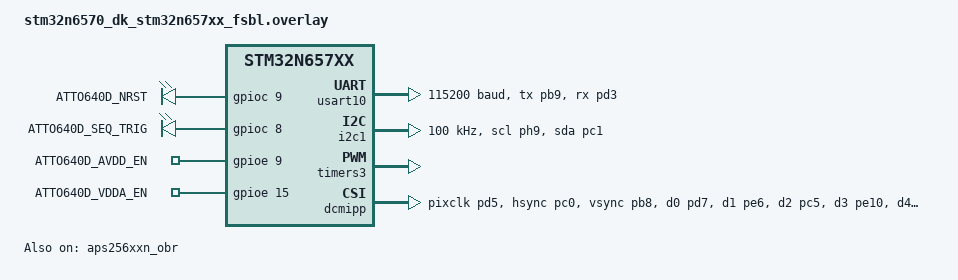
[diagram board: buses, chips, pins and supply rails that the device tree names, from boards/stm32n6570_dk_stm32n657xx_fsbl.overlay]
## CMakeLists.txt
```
cmake_minimum_required(VERSION 3.20.0)

set(DTC_OVERLAY_FILE
    "${CMAKE_CURRENT_SOURCE_DIR}/app.overlay"
    "${CMAKE_CURRENT_SOURCE_DIR}/boards/stm32n6570_dk_stm32n657xx_fsbl.overlay"
)

# Diagnose-Modus: SW-Generator Colorbar → UVC (DCMIPP läuft, liefert aber nicht an USB).
# Build: west build ... -- -DXI640_DIAG_SWGEN=ON
# Vorteil: Kein '.' im CMake-Argument-Wert → kein PowerShell-Parsing-Problem.
option(XI640_DIAG_SWGEN "SW-Generator Colorbar Diagnose-Modus (statt DCMIPP)" OFF)
if(XI640_DIAG_SWGEN)
  set(EXTRA_CONF_FILE "${CMAKE_CURRENT_SOURCE_DIR}/diag_swgen.conf")
  message(STATUS "XI640: Diagnose-Modus aktiv — EXTRA_CONF_FILE=${EXTRA_CONF_FILE}")
endif()

find_package(Zephyr REQUIRED HINTS $ENV{ZEPHYR_BASE})
project(xi640_uvc_dcmipp)

include(${ZEPHYR_BASE}/samples/subsys/usb/common/common.cmake)
target_sources(app PRIVATE
    src/main.c
    src/lynred_atto640d.c
    src/atto640d_video_stub.c
    src/dcmipp_capture.c
    src/xi640_hid.c
)

target_include_directories(app PRIVATE inc)

# DCMIPP Frame-Buffer in AXISRAM1 @ 0x34000000 (vor Zephyr Heap)
zephyr_linker_sources(DATA_SECTIONS sections/dcmipp_buf.ld)
```

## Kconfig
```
# Copyright The Zephyr Project Contributors
# SPDX-License-Identifier: Apache-2.0

source "samples/subsys/usb/common/Kconfig.sample_usbd"

menu "UVC specific configuration"

config APP_VIDEO_MAX_RESOLUTIONS
	int "Maximum number of advertised resolutions"
	default 5
	help
	   Control the maximum number of resolution that will be advertised
	   to the USB client in case of the video capture supports a range
	   of resolutions.

# Lokale UVC ISO Fork (usbd_uvc_iso.c) — Konfigurationsoptionen unabhaengig
# von CONFIG_USBD_VIDEO_CLASS, da wir die eingebaute Klasse deaktivieren
config USBD_VIDEO_MAX_FORMATS
	int "Maximale Anzahl Format-Deskriptoren"
	default 8

config USBD_VIDEO_NUM_BUFS
	int "Maximale Anzahl UVC Puffer"
	default 8

config USBD_VIDEO_MAX_FRMIVAL
	int "Maximale Anzahl Frame-Intervalle pro Frame-Deskriptor"
	default 4

config USBD_VIDEO_LOG_LEVEL
	int "Log-Level fuer UVC ISO (0=NONE 1=ERR 2=WRN 3=INF 4=DBG)"
	default 2

config VIDEO_BUFFER_POOL_SZ_MAX
	int "Maximale Groesse eines einzelnen Video-Puffers in Bytes"
	default 614400
	help
	  Maximale Puffergroesse pro Frame (640x480 YUYV = 614400 Bytes).
	  Formate, die groesser sind, werden beim Hinzufuegen uebersprungen.

config XI640_UVC_SOURCE_DCMIPP
	bool "DCMIPP als UVC-Datenquelle"
	default y
	help
	  y: DCMIPP liefert Frames an UVC (Produktionsmodus, HAL-Bypass).
	  n: SW-Generator Colorbar an UVC (Diagnose — DCMIPP läuft aber liefert nicht an USB).
	  Diagnose-Build: west build ... -- -DCONFIG_XI640_UVC_SOURCE_DCMIPP=n

endmenu

source "Kconfig.zephyr"
```

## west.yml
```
manifest:
  version: "0.13"

  defaults:
    remote: zephyr

  remotes:
    - name: zephyr
      url-base: https://github.com/zephyrproject-rtos

  projects:
    - name: zephyr
      remote: zephyr
      revision: main
      import: true

  self:
    path: app
```

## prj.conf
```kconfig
CONFIG_LOG=y
CONFIG_POLL=y
CONFIG_HWINFO=y

# D-Cache (Cortex-M55) — PFLICHT fuer SRAM-Bandbreite ~50 MB/s statt ~15 MB/s
CONFIG_DCACHE=y
CONFIG_CACHE_MANAGEMENT=y

# USB device_next
CONFIG_USB_DEVICE_STACK_NEXT=y
CONFIG_UDC_BUF_POOL_SIZE=32768

# USBD Video — eingebaute Bulk-UVC Klasse
CONFIG_USBD_VIDEO_CLASS=y

# Video
CONFIG_VIDEO=y
CONFIG_VIDEO_SW_GENERATOR=y
CONFIG_VIDEO_BUFFER_POOL_NUM_MAX=4
CONFIG_VIDEO_BUFFER_POOL_SZ_MAX=614400

CONFIG_USBD_VIDEO_NUM_BUFS=128
CONFIG_USBD_VIDEO_LOG_LEVEL_INF=y
CONFIG_USBD_VIDEO_MAX_FORMATS=8
CONFIG_USBD_VIDEO_MAX_FRMIVAL=2
CONFIG_UDC_STM32_MAX_QMESSAGES=64

# Stack
CONFIG_MAIN_STACK_SIZE=16384
CONFIG_USBD_THREAD_STACK_SIZE=8192
CONFIG_UDC_STM32_STACK_SIZE=2048

# USB descriptor
CONFIG_SAMPLE_USBD_PID=0x0022
CONFIG_SAMPLE_USBD_PRODUCT="Xi640 UVC Bulk"
CONFIG_SAMPLE_USBD_MANUFACTURER="Optris"

# Lynred ATTO640D
CONFIG_I2C=y
CONFIG_GPIO=y
CONFIG_PWM=y

# ── DCMIPP Parallel-Interface (14-Bit Pipe0 Dump Mode) ──────────────────────
CONFIG_VIDEO_STM32_DCMIPP=y
# RGB565 = FourCC "RGBP", bpp=16 → pitch=1280 korrekt (nicht SBGGR8 mit pitch=640!)
CONFIG_VIDEO_STM32_DCMIPP_SENSOR_PIXEL_FORMAT="RGBP"
CONFIG_VIDEO_STM32_DCMIPP_SENSOR_WIDTH=640
CONFIG_VIDEO_STM32_DCMIPP_SENSOR_HEIGHT=480
# SW-Generator Diagnose: 2x 614400 Bytes + 8 KB Heap-Overhead
# (nur relevant wenn CONFIG_XI640_UVC_SOURCE_DCMIPP=n)
CONFIG_VIDEO_BUFFER_POOL_HEAP_SIZE=1310720

# Kritisch: ohne dynamic interrupts zeigt DCMIPP IRQ48 auf Flash (Hard Fault!)
CONFIG_DYNAMIC_INTERRUPTS=y

# MEM_ATTR_HEAP führt zu Assertion-Fehler bei Boot (bekanntes P16-Problem)
CONFIG_MEM_ATTR_HEAP=n

# I-Cache für bessere Performance (D-Cache ist bereits aktiv)
CONFIG_ICACHE=y

# ── Crash-Diagnostik (TEMPORÄR — nach Root-Cause-Fix entfernen) ─────────────
# FAULT_DUMP=2: vollständiger Register-Dump (PC, LR, SP, r0-r12, SCB->CFSR,
#               SCB->BFAR, SCB->MMFAR) bei Hard Fault — essenziell für Diagnose
CONFIG_FAULT_DUMP=2
# STACK_SENTINEL: Magic-Byte am Stack-Boden — Zephyr meldet Overflow BEVOR
#                 der SP korrumpiert wird (Hypothese A Test)
CONFIG_STACK_SENTINEL=y

# ── HID (Interface 2, ausserhalb UVC-IAD) ───────────────────────────────────
CONFIG_USBD_HID_SUPPORT=y
CONFIG_USBD_HID_IN_BUF_COUNT=2
CONFIG_USBD_HID_OUT_BUF_COUNT=2
```

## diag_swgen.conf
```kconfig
# Diagnose-Build: SW-Generator Colorbar → UVC
# DCMIPP läuft im Hintergrund, liefert aber nicht an USB.
# Verifiziert: UVC-Pipeline unabhängig von DCMIPP-Übergabe-Code.
#
# Build: west build -b stm32n6570_dk/stm32n657xx/fsbl -d build/primary -p always app \
#   -- -DEXTRA_CONF_FILE=diag_swgen.conf
CONFIG_XI640_UVC_SOURCE_DCMIPP=n
```

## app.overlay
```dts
/ {
	chosen {
		zephyr,camera = &sw_generator;
	};

	sw_generator: sw-generator {
		compatible = "zephyr,video-sw-generator";
		status = "okay";
	};

	uvc: uvc {
		compatible = "zephyr,uvc-device";
		status = "okay";
	};

	/* Xi640 HID — Vendor Usage Page 0xFFA0 (Optris PIX Connect / IRImager SDK).
	 * Interface 2, ausserhalb der UVC-IAD (kein eigener IAD noetig).
	 * out-report-size → Interrupt-OUT-EP (0x02), Kommandos ohne Control-Pipe. */
	xi640_hid_dev: xi640-hid-dev {
		compatible = "zephyr,hid-device";
		protocol-code = "none";
		in-report-size        = <64>;
		in-polling-period-us  = <1000>;
		out-report-size       = <40>;
		out-polling-period-us = <1000>;
	};

};
```

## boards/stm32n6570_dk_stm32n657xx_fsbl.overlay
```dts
/*
 * Xi640 Project 22 — Board Overlay stm32n6570_dk//fsbl
 *
 * Console: USART10 (PB9=TX, PD3=RX)
 * AXISRAM3-6: aktiviert fuer Frame-Buffer (spaetere Phasen)
 * PSRAM: 100 MHz stabile Konfiguration (200 MHz instabil auf DK-Board)
 */

/ {
	chosen {
		zephyr,console = &usart10;
		zephyr,shell-uart = &usart10;
	};
};

&usart1 {
	status = "disabled";
};

&usart10 {
	status = "okay";
	pinctrl-0 = <&usart10_tx_pb9 &usart10_rx_pd3>;
	pinctrl-names = "default";
	current-speed = <115200>;
};

/* AXISRAM3-6 einschalten (RAMCFG HW-Baenke).
 * Nur originale axisram-Knoten triggern den RAMCFG-Treiber korrekt. */
&axisram3 {
	status = "okay";
};

&axisram4 {
	status = "okay";
};

&axisram5 {
	status = "okay";
};

&axisram6 {
	status = "okay";
};

/* ===== Lynred ATTO640D-04 GPIOs ===== */
/ {
	atto640d_ctrl {
		compatible = "gpio-leds";
		atto640d_nrst: atto640d_nrst {
			gpios = <&gpioc 9 GPIO_ACTIVE_HIGH>;
			label = "ATTO640D_NRST";
		};
		atto640d_seq_trig: atto640d_seq_trig {
			gpios = <&gpioc 8 GPIO_ACTIVE_HIGH>;
			label = "ATTO640D_SEQ_TRIG";
		};
		atto640d_avdd_en: atto640d_avdd_en {
			gpios = <&gpioe 9 GPIO_ACTIVE_HIGH>;
			label = "ATTO640D_AVDD_EN";
		};
		atto640d_vdda_en: atto640d_vdda_en {
			gpios = <&gpioe 15 GPIO_ACTIVE_HIGH>;
			label = "ATTO640D_VDDA_EN";
		};
	};
};

/* ===== I2C1: Lynred ATTO640D-04 @ 0x12 ===== */
&i2c1 {
	status = "okay";
	clock-frequency = <I2C_BITRATE_STANDARD>;
	pinctrl-0 = <&i2c1_scl_ph9 &i2c1_sda_pc1>;
	pinctrl-names = "default";
};

/* ===== MC Clock: TIM3_CH2 auf PC7, 33 MHz ===== */
&timers3 {
	status = "okay";
	st,prescaler = <0>;

	atto640d_mc_pwm: pwm {
		status = "okay";
		pinctrl-0 = <&tim3_ch2_pc7>;
		pinctrl-names = "default";
	};
};

/* PSRAM @ 100 MHz — stabiler als 200 MHz (CLAUDE.md: ~109 MB/s Write, ~202 MB/s Read).
 * burst-length=3 (2K Wrap), rbx: bewaehrte Konfiguration aus Project 21. */
&aps256xxn_obr {
	status = "okay";
	max-frequency = <DT_FREQ_M(100)>;
	read-latency = <4>;
	write-latency = <1>;
	fixed-latency;
	burst-length = <3>;
	rbx;
	st,csbound = <11>;
};

/*
 * ── Lynred ATTO640D-04 Video-Source Node (fuer DCMIPP-Treiber) ─────────────
 * Der DCMIPP-Treiber (video_stm32_dcmipp.c) benoetigt ein Zephyr-Device am
 * Source-Endpoint. Dieser Node registriert den atto640d_video_stub.
 * Echte Hardware-Ansteuerung laeuft ueber atto640d_init() in lynred_atto640d.c.
 */
/ {
	atto640d: atto640d {
		compatible = "lynred,atto640d-04";
		status = "okay";

		port {
			atto640d_ep_out: endpoint {
				remote-endpoint-label = "dcmipp_ep_in";
			};
		};
	};
};

/*
 * ── DCMIPP: 14-Bit Parallel Interface ─────────────────────────────────────
 *
 * Pin-Mapping (STM32N6570-DK Schaltplan):
 *   Data[0..13]: PD7 PE6 PC5 PE10 PE8 PE4 PB6 PB7 PE1 PD4 PB14 PD8 PD12 PD13
 *   PIXCLK: PD5 (PSYNC via CPLD), HSYNC: PC0, VSYNC: PB8
 *
 * Polaritaeten (kritisch — aus P16 bestaetigt):
 *   hsync-active = 0: HSYNC active LOW  <- BUGFIX (1 -> DCMIPP las nur Blanking!)
 *   vsync-active = 0: VSYNC active LOW
 *   pclk-sample  = 0: Zephyr-Stack-Pfad FALLING. HAL-Bypass (P22 aktiv) nutzt RISING — Wert ignoriert.
 *
 * data-lanes: Dummy fuer STM32_DCMIPP_HAS_CSI compile-time Pruefung.
 * STM32N6 hat CSI-HW -> Treiber liest data_lanes auch im Parallel-Modus.
 */
&dcmipp {
	status = "okay";
	pinctrl-0 = <
		&dcmipp_pixclk_pd5
		&dcmipp_hsync_pc0
		&dcmipp_vsync_pb8
		&dcmipp_d0_pd7
		&dcmipp_d1_pe6
		&dcmipp_d2_pc5
		&dcmipp_d3_pe10
		&dcmipp_d4_pe8
		&dcmipp_d5_pe4
		&dcmipp_d6_pb6
		&dcmipp_d7_pb7
		&dcmipp_d8_pe1
		&dcmipp_d9_pd4
		&dcmipp_d10_pb14
		&dcmipp_d11_pd8
		&dcmipp_d12_pd12
		&dcmipp_d13_pd13
	>;
	pinctrl-names = "default";

	port {
		dcmipp_ep_in: endpoint {
			remote-endpoint-label = "atto640d_ep_out";
			bus-type = <VIDEO_BUS_TYPE_PARALLEL>;
			bus-width = <14>;
			hsync-active = <0>;
			vsync-active = <0>;
			pclk-sample  = <0>;   /* Zephyr-Stack-Pfad: FALLING (PCKPOL=0). HAL-Bypass (aktiv in P22) konfiguriert RISING direkt — dieser Wert wird ignoriert. */
			data-lanes = <1 2>;
		};
	};
};
```

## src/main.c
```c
/*
 * Copyright (c) 2025 tinyVision.ai Inc.
 * SPDX-License-Identifier: Apache-2.0
 *
 * Phase ISO-1: DCMIPP HAL-Bypass Streaming — echte Kamera-Pipeline.
 * DCMIPP liefert Frames via DMA, Security-Init (RIFSC/RISAF) freigegeben.
 * Timer-Simulation entfernt.
 */

#include <stdint.h>
#include <stdlib.h>
#include <string.h>

#include <sample_usbd.h>

#include <zephyr/device.h>
#include <zephyr/kernel.h>
#include <zephyr/usb/usbd.h>
#include <zephyr/drivers/video.h>
#include <zephyr/video/video.h>          /* video_import_buffer */
#include <zephyr/logging/log.h>
#include <zephyr/usb/class/usbd_uvc.h>
#include <zephyr/cache.h>

#include "lynred_atto640d.h"
#include "xi640_hid.h"

#include <soc.h>              /* STM32N6 HAL: RIF, RCC, NVIC, SCB_NS */
#include "dcmipp_capture.h"

LOG_MODULE_REGISTER(uvc_sample, LOG_LEVEL_INF);

/* Phase 4: DCMIPP frame_buf_a/b direkt als UVC-Pool-Einträge.
 * Kein separater AXISRAM3/4-Buffer mehr — DWC2 DMA liest aus AXISRAM1
 * (OTG1 + OTG2 haben CID1 via RIMC → Zugriff auf alle AXISRAM-Bänke OK).
 * Wrapper-Structs: nur .index und .type werden von video_enqueue() genutzt.
 * video_import_buffer() trägt .buffer/.size in video_buf[idx] ein.
 * video_dequeue() liefert &video_buf[idx] zurück (Pool-Eintrag direkt). */
static struct video_buffer uvc_static_bufs[2];

const static struct device *const uvc_dev = DEVICE_DT_GET(DT_NODELABEL(uvc));

/* sw-generator: Format-Advertisement + optionaler Colorbar-Diagnose-Pfad.
 * CONFIG_XI640_UVC_SOURCE_DCMIPP=n → sw-generator liefert echte Colorbar-Daten an UVC. */
const static struct device *const video_dev = DEVICE_DT_GET(DT_CHOSEN(zephyr_camera));

static struct video_caps video_caps = {.type = VIDEO_BUF_TYPE_OUTPUT};

/* ---- Benchmark-Statistik (Sliding Window, 30 Frames) ---- */
static struct {
	uint32_t window_frames;    /* Frames im aktuellen Fenster */
	uint32_t window_start_ms;  /* Fensterbeginn (k_uptime_get_32) */
	uint32_t total_frames;     /* Gesamt-Frames seit Reset */
} bench;

static void bench_reset(uint32_t frame_size)
{
	bench.window_frames   = 0U;
	bench.window_start_ms = k_uptime_get_32();
	bench.total_frames    = 0U;
	LOG_INF("Benchmark gestartet, Frame-Groesse: %u Bytes", frame_size);
}

static void bench_update(uint32_t frame_size)
{
	bench.window_frames++;
	bench.total_frames++;

	if (bench.window_frames >= 30U) {
		uint32_t now     = k_uptime_get_32();
		uint32_t elapsed = now - bench.window_start_ms;

		if (elapsed > 0U) {
			uint32_t fps  = (30U * 1000U) / elapsed;
			uint32_t kbps = (uint32_t)(
				((uint64_t)bench.window_frames * frame_size * 8U)
				/ elapsed);
			LOG_INF("UVC: %u FPS | %u kbit/s "
				"(Fenster %u ms) | gesamt: %u Frames",
				fps, kbps, elapsed, bench.total_frames);
		}

		bench.window_start_ms = now;
		bench.window_frames   = 0U;
	}
}
/* ---- Ende Benchmark ---- */

/* ---- Format-Setup (nutzt video_caps vom sw-generator) ---- */

static bool app_is_supported_format(uint32_t pixfmt)
{
	return pixfmt == VIDEO_PIX_FMT_JPEG ||
	       pixfmt == VIDEO_PIX_FMT_YUYV ||
	       pixfmt == VIDEO_PIX_FMT_NV12 ||
	       pixfmt == VIDEO_PIX_FMT_H264;
}

static bool app_has_supported_format(void)
{
	const struct video_format_cap *const fmts = video_caps.format_caps;

	for (int i = 0; fmts[i].pixelformat != 0; i++) {
		if (app_is_supported_format(fmts[i].pixelformat)) {
			return true;
		}
	}
	return false;
}

static int app_add_format(uint32_t pixfmt, uint32_t width, uint32_t height, bool has_sup_fmts)
{
	struct video_format fmt = {
		.pixelformat = pixfmt,
		.width = width,
		.height = height,
		.type = VIDEO_BUF_TYPE_OUTPUT,
	};
	int ret;

	if (has_sup_fmts && !app_is_supported_format(pixfmt)) {
		return 0;
	}

	/* Größe berechnen lassen — video_dev (sw-gen) als Referenz */
	ret = video_set_compose_format(video_dev, &fmt);
	if (ret != 0) {
		LOG_ERR("Format %s %ux%u nicht setzbar",
			VIDEO_FOURCC_TO_STR(fmt.pixelformat), fmt.width, fmt.height);
		return ret;
	}

	if (fmt.size > CONFIG_VIDEO_BUFFER_POOL_SZ_MAX) {
		LOG_WRN("Format %ux%u uebersprungen (%u > %u)",
			fmt.width, fmt.height, fmt.size, CONFIG_VIDEO_BUFFER_POOL_SZ_MAX);
		return 0;
	}

	ret = uvc_add_format(uvc_dev, &fmt);
	if (ret == -ENOMEM) {
		return 0;
	}

	LOG_INF("Format hinzugefuegt: %s %ux%u (%u Bytes)",
		VIDEO_FOURCC_TO_STR(fmt.pixelformat), fmt.width, fmt.height, fmt.size);
	return ret;
}

struct video_resolution {
	uint16_t width;
	uint16_t height;
};

static struct video_resolution video_common_fmts[] = {
	{ .width = 160,  .height = 120  },
	{ .width = 320,  .height = 240  },
	{ .width = 640,  .height = 480  },
	{ .width = 854,  .height = 480  },
	{ .width = 800,  .height = 600  },
	{ .width = 1280, .height = 720  },
	{ .width = 1280, .height = 1024 },
	{ .width = 1920, .height = 1080 },
	{ .width = 3840, .height = 2160 },
};

static int app_add_filtered_formats(void)
{
	const bool has_sup_fmts = app_has_supported_format();
	int ret;

	for (int i = 0; video_caps.format_caps[i].pixelformat != 0; i++) {
		const struct video_format_cap *vcap = &video_caps.format_caps[i];
		uint32_t pixelformat = vcap->pixelformat;
		int count = 1;

		ret = app_add_format(pixelformat, vcap->width_min, vcap->height_min, has_sup_fmts);
		if (ret != 0) {
			return ret;
		}

		if (vcap->width_min != vcap->width_max || vcap->height_min != vcap->height_max) {
			ret = app_add_format(pixelformat, vcap->width_max, vcap->height_max,
					     has_sup_fmts);
			if (ret != 0) {
				return ret;
			}
			count++;
		}

		if (vcap->width_step == 0 && vcap->height_step == 0) {
			continue;
		}

		for (int j = 0; j < ARRAY_SIZE(video_common_fmts); j++) {
			if (count >= CONFIG_APP_VIDEO_MAX_RESOLUTIONS) {
				break;
			}
			if (!IN_RANGE(video_common_fmts[j].width,
				      vcap->width_min, vcap->width_max) ||
			    !IN_RANGE(video_common_fmts[j].height,
				      vcap->height_min, vcap->height_max)) {
				continue;
			}
			if ((video_common_fmts[j].width - vcap->width_min) % vcap->width_step ||
			    (video_common_fmts[j].height - vcap->height_min) % vcap->height_step) {
				continue;
			}
			ret = app_add_format(pixelformat, video_common_fmts[j].width,
					     video_common_fmts[j].height, has_sup_fmts);
			if (ret != 0) {
				return ret;
			}
			count++;
		}
	}

	return 0;
}

int main(void)
{
	struct usbd_context *sample_usbd;
	struct video_format fmt = {0};
	struct video_frmival frmival = {0};
	int ret;

	/* ---- Lynred ATTO640D-04 Bolometer Init (vor DCMIPP und USB!) ---- */
	/* MC muss laufen bevor DCMIPP Daten empfangen kann. */
	int atto_ret = atto640d_init();

	if (atto_ret == ATTO640D_OK) {
		LOG_INF("ATTO640D: Sequencer aktiv, Free-run @ 33 MHz");
	} else {
		LOG_ERR("ATTO640D init FAILED: %d", atto_ret);
		/* Weiterlaufen mit sw-generator (kein echter Sensor) */
	}

	/* ── Security-Init: DCMIPP RIF-Zugriff freigeben ──────────────────────
	 * MUSS vor dcmipp_capture_init() stehen!
	 * Ohne diese Konfiguration: DCMIPP IRQ zeigt auf Flash → Hard Fault.
	 * Identisch mit P16 main.c (bewährt, getestet). */

	/* APB5 Bus + DCMIPP Peripheral Clock */
	RCC->BUSENR  |= RCC_BUSENR_APB5EN;
	RCC->APB5ENR |= RCC_APB5ENR_DCMIPPEN;
	LOG_INF("DCMIPP: APB5EN + DCMIPPEN gesetzt (0x%08x)", RCC->APB5ENR);

	/* RIFSC: DMA-Master CID-Konfiguration für alle aktiven DMA-Master.
	 *
	 * Ohne RIMC-Konfiguration hat ein DMA-Master CID_NONE und kann nur
	 * auf RISAF-Regionen ohne CID-Filter zugreifen (z.B. AXISRAM1 Default).
	 * AXISRAM3-6 sind nach RAMCFG-Aktivierung CID-geschützt → DMA Master
	 * braucht CID1-Zuweisung um darauf zuzugreifen.
	 *
	 * DCMIPP (Index 9): Liest Pixel vom CPLD, schreibt nach AXISRAM1.
	 * OTG1   (Index 4): USB OTG HS DMA liest UVC-Frame aus AXISRAM3/4.
	 * OTG2   (Index 5): Zweiter OTG-Kanal (zur Sicherheit mitkonfiguriert). */
	__HAL_RCC_RIFSC_CLK_ENABLE();
	{
		RIMC_MasterConfig_t rimc = { 0 };
		rimc.MasterCID = RIF_CID_1;
		rimc.SecPriv   = RIF_ATTRIBUTE_SEC | RIF_ATTRIBUTE_PRIV;

		HAL_RIF_RIMC_ConfigMasterAttributes(RIF_MASTER_INDEX_DCMIPP, &rimc);
		HAL_RIF_RISC_SetSlaveSecureAttributes(RIF_RISC_PERIPH_INDEX_DCMIPP,
						      RIF_ATTRIBUTE_SEC | RIF_ATTRIBUTE_PRIV);

		/* USB OTG DMA-Master: AXISRAM3/4 als UVC TX-Buffer erreichbar machen. */
		HAL_RIF_RIMC_ConfigMasterAttributes(RIF_MASTER_INDEX_OTG1, &rimc);
		HAL_RIF_RIMC_ConfigMasterAttributes(RIF_MASTER_INDEX_OTG2, &rimc);
	}
	LOG_INF("RIMC: DCMIPP + OTG1 + OTG2 → CID1 Secure+Priv gesetzt");

	/* Security-Fix: ALLE IRQs auf Secure zwingen + VTOR_NS korrekt setzen.
	 *
	 * ROOT CAUSE des Hard Faults:
	 *   USB OTG HS IRQ (ca. IRQ 77, ITNS[2] bit 13) war Non-Secure (ITNS-Bit gesetzt).
	 *   Beim ersten USB-Interrupt nach Stream-Start:
	 *     → CPU wechselt in Non-Secure Handler Mode
	 *     → liest Vektortabelle aus VTOR_NS = 0x34180400 (Secure-Alias!)
	 *     → Non-Secure CPU darf 0x34xxxxxx nicht lesen → Bus Fault → VECTTBL HardFault
	 *
	 * Fix A: ALLE ITNS-Register löschen → kein IRQ mehr Non-Secure.
	 *   Zephyr läuft vollständig im Secure-Modus — Non-Secure IRQs sind unerwünscht.
	 *
	 * Fix B: VTOR_NS auf NS-Alias setzen (0x24xxxxxx statt 0x34xxxxxx).
	 *   Bit 28 unterscheidet Secure- (0x3x) von Non-Secure-Alias (0x2x) auf STM32N6.
	 *   Auch wenn kein IRQ mehr NS ist: VTOR_NS korrekt halten (Sicherheitsnetz). */
	{
		uint32_t vtor_s = SCB->VTOR;
		unsigned int irq_key;

		/* Fix A: Alle 16 ITNS-Register löschen (deckt IRQ 0..511) */
		irq_key = irq_lock();
		for (int _i = 0; _i < (int)ARRAY_SIZE(NVIC->ITNS); _i++) {
			NVIC->ITNS[_i] = 0U;
		}
		irq_unlock(irq_key);

		/* Fix B: VTOR_NS = NS-Alias (0x34xxxxxx → 0x24xxxxxx, bit28 löschen) */
		SCB_NS->VTOR = vtor_s & ~(1UL << 28);

		LOG_INF("Security-Fix: alle ITNS=0, VTOR_S=0x%08x VTOR_NS=0x%08x",
			SCB->VTOR, SCB_NS->VTOR);
	}

	/* DCMIPP Parallel-Interface Init (HAL Bypass Modus) */
	LOG_INF("=== DCMIPP Capture Init ===");
	ret = dcmipp_capture_init();
	if (ret != 0) {
		LOG_ERR("dcmipp_capture_init fehlgeschlagen: %d", ret);
		return ret;
	}
	LOG_INF("DCMIPP: HAL-Bypass Streaming aktiv");

	/* ---- USB: Format-Advertisement (sw-generator als Metadaten-Quelle) ---- */

	if (!device_is_ready(video_dev)) {
		LOG_ERR("video_dev %s nicht bereit", video_dev->name);
		return -ENODEV;
	}
	ret = video_get_caps(video_dev, &video_caps);
	if (ret != 0) {
		LOG_ERR("video_get_caps fehlgeschlagen: %d", ret);
		return ret;
	}
	uvc_set_video_dev(uvc_dev, video_dev);
	ret = app_add_filtered_formats();
	if (ret != 0) {
		return ret;
	}

	/* ---- HID Interface registrieren (vor USB-Stack-Start) ---- */
	ret = xi640_hid_init();
	if (ret != 0) {
		LOG_ERR("xi640_hid_init fehlgeschlagen: %d", ret);
		return ret;
	}

	/* ---- USB Stack starten ---- */
	sample_usbd = sample_usbd_init_device(NULL);
	if (sample_usbd == NULL) {
		return -ENODEV;
	}
	ret = usbd_enable(sample_usbd);
	if (ret != 0) {
		return ret;
	}

	/* ── DEBUG: USB-Register-Zustand nach usbd_enable() ─────────────────
	 * Vergleich UVC-only vs UVC+HID: GINTMSK und DCFG müssen identisch sein.
	 * DCFG[1:0] DSPD: 0=HS, 1=FS(extern PHY), 3=FS(intern PHY).
	 * DCTL[1] RWUSIG, DCTL[2] SFTDISCON (0=connected, 1=soft-disconnect).
	 * GINTMSK: welche Interrupts aktiv sind (WKUINT Bit17, USBSUSP Bit11).
	 * TEMPORÄR — nach Root-Cause-Analyse entfernen. */
	{
		volatile uint32_t *gintmsk =
			(volatile uint32_t *)(DT_REG_ADDR(DT_NODELABEL(usbotg_hs1)) + 0x018U);
		volatile uint32_t *gintsts =
			(volatile uint32_t *)(DT_REG_ADDR(DT_NODELABEL(usbotg_hs1)) + 0x014U);
		volatile uint32_t *dcfg =
			(volatile uint32_t *)(DT_REG_ADDR(DT_NODELABEL(usbotg_hs1))
					      + USB_OTG_DEVICE_BASE + 0x000U);
		volatile uint32_t *dctl =
			(volatile uint32_t *)(DT_REG_ADDR(DT_NODELABEL(usbotg_hs1))
					      + USB_OTG_DEVICE_BASE + 0x004U);

		LOG_INF("USB-REG nach usbd_enable: GINTMSK=0x%08x GINTSTS=0x%08x"
			" DCFG=0x%08x DCTL=0x%08x",
			*gintmsk, *gintsts, *dcfg, *dctl);
	}

	/* ---- Warte auf Host Format-Auswahl ---- */
	LOG_INF("Warte auf Host Format-Auswahl...");
	while (true) {
		fmt.type = VIDEO_BUF_TYPE_INPUT;
		ret = video_get_format(uvc_dev, &fmt);
		if (ret == 0) {
			break;
		}
		if (ret != -EAGAIN) {
			LOG_ERR("video_get_format fehlgeschlagen: %d", ret);
			return ret;
		}
		k_sleep(K_MSEC(10));
	}
	ret = video_get_frmival(uvc_dev, &frmival);
	if (ret != 0) {
		LOG_WRN("video_get_frmival fehlgeschlagen: %d", ret);
	}
	/* printk statt LOG_INF: GCC 12 (SDK 0.17.4) kann VA_STACK_ALIGN(long double)
	 * nicht als compile-time integer auswerten → BUILD_ASSERT schlaegt fehl.
	 * printk nutzt runtime-cbvprintf, kein static package → kein Assert. */
	char fourcc_str[5];
	memcpy(fourcc_str, VIDEO_FOURCC_TO_STR(fmt.pixelformat), sizeof(fourcc_str));
	printk("Host gewaehlt: %s %ux%u @ %u/%u\n",
		fourcc_str, fmt.width, fmt.height,
		frmival.denominator, frmival.numerator);
	LOG_WRN("USB Speed: %u (0=FS 1=HS)",
		usbd_bus_speed(sample_usbd));

	/* ── Phase 5: OTG-HS TX-FIFO Tuning ────────────────────────────────────
	 * udc_stm32.c berechnet EP1-TX FIFO = DIV_ROUND_UP(MPS=512, 4) = 128 Words
	 * = 512 Bytes = 1×MPS. 2776 B freies DRAM bleiben ungenutzt.
	 * Fix: EP1-TX auf Rest des DRAM ausweiten (822 Words = 3288 B = 6.4×MPS).
	 * → Weniger FIFO-Stalls, besserer Burst-Durchsatz für Bulk-IN.
	 *
	 * Timing: nach Enumeration (Host hat Format gewählt), vor erstem Transfer.
	 * Kein aktiver Transfer auf EP1 → FIFO-Flush ist sicher.
	 *
	 * Basis-Adresse: DT usbotg_hs1 @ 0x08040000 (AHB5 auf STM32N6). */
	{
		volatile uint32_t *grxfsiz   =
			(volatile uint32_t *)(DT_REG_ADDR(DT_NODELABEL(usbotg_hs1)) + 0x024U);
		volatile uint32_t *gnptxfsiz =
			(volatile uint32_t *)(DT_REG_ADDR(DT_NODELABEL(usbotg_hs1)) + 0x028U);
		volatile uint32_t *dieptxf1  =
			(volatile uint32_t *)(DT_REG_ADDR(DT_NODELABEL(usbotg_hs1)) + 0x104U);
		volatile uint32_t *dieptxf2  =
			(volatile uint32_t *)(DT_REG_ADDR(DT_NODELABEL(usbotg_hs1)) + 0x108U);
		volatile uint32_t *grstctl   =
			(volatile uint32_t *)(DT_REG_ADDR(DT_NODELABEL(usbotg_hs1)) + 0x010U);

		uint32_t rx_words  = *grxfsiz   & 0xFFFFU;
		uint32_t ep0_depth = (*gnptxfsiz >> 16) & 0xFFFFU;
		uint32_t ep1_depth = (*dieptxf1 >> 16) & 0xFFFFU;
		uint32_t ep1_start = *dieptxf1 & 0xFFFFU;
		uint32_t total     = rx_words + ep0_depth + ep1_depth;

		LOG_INF("FIFO: RX=%uW(%uB) EP0=%uW(%uB) EP1=%uW(%uB) frei=%uB",
			rx_words,  rx_words  * 4U,
			ep0_depth, ep0_depth * 4U,
			ep1_depth, ep1_depth * 4U,
			4096U - total * 4U);

		/* EP1 TX FIFO auf verfügbaren Rest ausweiten.
		 * 16W (64B = 1×HID-MPS) am Ende für EP2 HID TX FIFO reservieren.
		 * Ohne diese Reservierung: EP1 (202-1023) überlagert EP2-FIFO (~330)
		 * → Spurious resume / EP2-Korruption.
		 * Flush EP1 zuerst: GRSTCTL.TXFNUM=1 (EP1), TXFFLSH=1 (bit5). */
		*grstctl = (1UL << 6) | (1UL << 5);     /* TXFNUM=1, TXFFLSH=1 */
		while (*grstctl & (1UL << 5)) {}         /* Warte bis auto-clear */

		/* EP1: Wörter ep1_start bis (1024-16-1) = 806W */
		uint32_t ep2_fifo_words = 16U;           /* 64B = 1×HID-MPS */
		uint32_t ep1_new_depth  = (4096U / 4U) - ep1_start - ep2_fifo_words;
		*dieptxf1 = (ep1_new_depth << 16) | ep1_start;

		LOG_INF("FIFO Tuning: EP1-TX %uW(%uB) → %uW(%uB) @ Word %u",
			ep1_depth, ep1_depth * 4U,
			ep1_new_depth, ep1_new_depth * 4U, ep1_start);

		/* EP2 (HID): direkt nach EP1 platzieren.
		 * Flush EP2 TX FIFO vor Reconfig. */
		*grstctl = (2UL << 6) | (1UL << 5);     /* TXFNUM=2, TXFFLSH=1 */
		while (*grstctl & (1UL << 5)) {}

		uint32_t ep2_start = ep1_start + ep1_new_depth;
		*dieptxf2 = (ep2_fifo_words << 16) | ep2_start;

		LOG_INF("FIFO Tuning: EP2-TX %uW(%uB) @ Word %u (HID)",
			ep2_fifo_words, ep2_fifo_words * 4U, ep2_start);
	}

	/* ── Streaming-Loop: DCMIPP oder SW-Generator → UVC ──────────────────
	 * CONFIG_XI640_UVC_SOURCE_DCMIPP=y (default): DCMIPP liefert Frames.
	 * CONFIG_XI640_UVC_SOURCE_DCMIPP=n:           SW-Generator Colorbar.
	 *   Diagnose-Build: west build ... -- -DCONFIG_XI640_UVC_SOURCE_DCMIPP=n */

#if CONFIG_XI640_UVC_SOURCE_DCMIPP
	/* ── DCMIPP → UVC (Produktionspfad) ────────────────────────────────
	 * RIMC für OTG1+OTG2 in Security-Init gesetzt → DWC2 DMA hat CID1.
	 * UVC TX Buffer in AXISRAM3/4 — DWC2 DMA + CPU nutzen denselben CID1. */
	LOG_INF("=== DCMIPP→UVC Streaming ===");

	/* Phase 4: DCMIPP-Buffer direkt als UVC-Pool-Einträge registrieren.
	 * video_enqueue() liest &video_buf[buf->index].buffer → direkt AXISRAM1.
	 * Kein Umweg über AXISRAM3/4 — 1.2 MB gespart, ein Kopier-Hop weniger. */
	{
		uint8_t  *dcmipp_buf_a, *dcmipp_buf_b;
		uint16_t  idx;

		dcmipp_capture_get_buffers(&dcmipp_buf_a, &dcmipp_buf_b);

		ret = video_import_buffer(dcmipp_buf_a, fmt.size, &idx);
		if (ret != 0) {
			LOG_ERR("video_import_buffer[a] fehlgeschlagen: %d", ret);
			return ret;
		}
		uvc_static_bufs[0].index = idx;
		uvc_static_bufs[0].type  = VIDEO_BUF_TYPE_INPUT;
		LOG_INF("DCMIPP buf_a @ %p → video_buf[%u]",
			(void *)dcmipp_buf_a, idx);

		ret = video_import_buffer(dcmipp_buf_b, fmt.size, &idx);
		if (ret != 0) {
			LOG_ERR("video_import_buffer[b] fehlgeschlagen: %d", ret);
			return ret;
		}
		uvc_static_bufs[1].index = idx;
		uvc_static_bufs[1].type  = VIDEO_BUF_TYPE_INPUT;
		LOG_INF("DCMIPP buf_b @ %p → video_buf[%u]",
			(void *)dcmipp_buf_b, idx);
	}

	/* Initial-Enqueue: beide Buffer einreihen (bytesused=0 — UVC sendet
	 * leere Header-Frames bis DCMIPP Nutzdaten liefert, das ist safe). */
	ret = video_enqueue(uvc_dev, &uvc_static_bufs[0]);
	if (ret != 0) {
		LOG_ERR("initial enqueue[0] fehlgeschlagen: %d", ret);
		return ret;
	}
	ret = video_enqueue(uvc_dev, &uvc_static_bufs[1]);
	if (ret != 0) {
		LOG_ERR("initial enqueue[1] fehlgeschlagen: %d", ret);
		return ret;
	}
	LOG_INF("Phase 4 Pipeline: beide Buffer eingereiht — starte Loop");

	{
		uint8_t            *frame_data;
		uint32_t            frame_size;
		uint32_t            frame_count = 0U;
		struct video_buffer *done_buf;

		bench_reset(fmt.size);

		while (true) {
			/* 1. DCMIPP-Frame capturen — PARALLEL zu laufendem USB-Transfer.
			 *    DCMIPP braucht ~25ms (40 FPS), USB ~38ms (26 FPS).
			 *    → get_frame() kehrt zurück während USB noch ~13ms läuft.
			 *    D-Cache-Invalidierung bereits in get_frame() enthalten. */
			ret = dcmipp_capture_get_frame(&frame_data, &frame_size,
						       200);
			if (ret == -ETIMEDOUT) {
				k_sleep(K_MSEC(1));
				continue;
			}
			if (ret != 0) {
				LOG_ERR("DCMIPP Fehler: %d", ret);
				break;
			}

			/* 2. Blockierendes Dequeue — USB ~13ms nach get_frame() fertig.
			 *    K_MSEC(100) statt K_NO_WAIT: kein spurious get_frame() retry
			 *    mehr. done_buf == &video_buf[idx] (Pool-Eintrag direkt). */
			ret = video_dequeue(uvc_dev, &done_buf, K_MSEC(100));
			if (ret != 0) {
				LOG_WRN("UVC dequeue timeout (frame %u): %d",
					frame_count, ret);
				/* frame_data verloren — nächste Iteration holt neuen Frame */
				continue;
			}

			/* 3. Zero-Copy: Pool-Eintrag direkt auf DCMIPP-Frame zeigen.
			 *    CPU schreibt NICHT in diesen Buffer → kein cache flush nötig.
			 *    Invalidierung in dcmipp_capture_get_frame() ausreichend. */
			done_buf->buffer    = frame_data;
			done_buf->size      = frame_size;
			done_buf->bytesused = frame_size;
			done_buf->type      = VIDEO_BUF_TYPE_INPUT;

			frame_count++;
			LOG_DBG("DCMIPP→UVC frame %u buf=%p",
				frame_count, (void *)done_buf->buffer);

			/* 4. USB-Transfer starten — nächste Iteration beginnt sofort
			 *    mit get_frame() und überlappt so mit diesem Transfer. */
			ret = video_enqueue(uvc_dev, done_buf);
			if (ret != 0) {
				LOG_ERR("video_enqueue fehlgeschlagen: %d", ret);
				break;
			}
			bench_update(frame_size);
		}
	}

#else /* CONFIG_XI640_UVC_SOURCE_DCMIPP=n → SW-Generator Diagnose-Pfad */

	/* ── SW-Generator Colorbar → UVC (Diagnose-Modus) ──────────────────
	 * DCMIPP läuft im Hintergrund (Init lief durch), liefert aber nicht
	 * an USB. SW-Generator Colorbar verifiziert die UVC-Pipeline isoliert.
	 * Buffers kommen vom Zephyr Heap (AXISRAM1) — DWC2 DMA-Zugriff bekannt OK.
	 *
	 * Wenn dies crasht → P16-Änderungen haben UVC/Security kaputt gemacht.
	 * Wenn dies läuft  → Problem liegt im DCMIPP→UVC Übergabe-Code. */
	LOG_INF("=== SW-Generator Colorbar → UVC (Diagnose) ===");
	LOG_INF("SW-Gen: video_dev=%p ready=%d fmt.size=%u",
		(void *)video_dev, device_is_ready(video_dev), fmt.size);

	{
		struct video_buffer *swgen_bufs[2];
		struct video_buffer *vbuf;
		struct video_buffer *done_buf;
		uint32_t             frame_count = 0U;
		struct video_format  swgen_fmt   = fmt;

		swgen_fmt.type = VIDEO_BUF_TYPE_OUTPUT;
		LOG_INF("SW-Gen: video_set_format...");
		ret = video_set_format(video_dev, &swgen_fmt);
		if (ret != 0) {
			LOG_WRN("video_set_format(sw-gen) Fehler: %d", ret);
		}
		LOG_INF("SW-Gen: video_set_format ret=%d", ret);

		for (int i = 0; i < 2; i++) {
			LOG_INF("SW-Gen: alloc buf[%d] size=%u (K_NO_WAIT)...",
				i, fmt.size);
			/* K_NO_WAIT statt K_FOREVER — blockiert nicht bei Heap-Engpass */
			swgen_bufs[i] = video_buffer_alloc(fmt.size, K_NO_WAIT);
			if (!swgen_bufs[i]) {
				LOG_ERR("video_buffer_alloc fehlgeschlagen (%d) — "
					"Heap zu klein fuer %u Bytes?", i, fmt.size);
				return -ENOMEM;
			}
			LOG_INF("SW-Gen: buf[%d] @ %p", i,
				(void *)swgen_bufs[i]->buffer);
			swgen_bufs[i]->type = VIDEO_BUF_TYPE_OUTPUT;
			LOG_INF("SW-Gen: enqueue buf[%d]...", i);
			ret = video_enqueue(video_dev, swgen_bufs[i]);
			if (ret != 0) {
				LOG_ERR("video_enqueue(sw-gen %d) Fehler: %d",
					i, ret);
				return ret;
			}
			LOG_INF("SW-Gen buf[%d] @ %p enqueued OK", i,
				(void *)swgen_bufs[i]->buffer);
		}

		LOG_INF("SW-Gen: starte stream (video_stream_start)...");
		ret = video_stream_start(video_dev, VIDEO_BUF_TYPE_OUTPUT);
		if (ret != 0) {
			LOG_ERR("video_stream_start(sw-gen) Fehler: %d", ret);
			return ret;
		}
		LOG_INF("SW-Gen: stream gestartet, beginne Loop");
		bench_reset(fmt.size);

		while (true) {
			/* 1. Colorbar-Frame holen */
			LOG_DBG("SW-Gen: warte auf Frame von video_dev...");
			ret = video_dequeue(video_dev, &vbuf, K_MSEC(200));
			if (ret != 0) {
				LOG_WRN("SW-Gen dequeue timeout (frame %u) ret=%d",
					frame_count, ret);
				continue;
			}

			/* 2. Cache flush — CPU hat Colorbar erzeugt → DMA-lesbar */
			sys_cache_data_flush_range(vbuf->buffer,
						   vbuf->bytesused);
			vbuf->type = VIDEO_BUF_TYPE_INPUT;

			/* 3. An UVC übergeben */
			LOG_DBG("SW-Gen: enqueue Frame an uvc_dev...");
			ret = video_enqueue(uvc_dev, vbuf);
			if (ret != 0) {
				LOG_ERR("video_enqueue(uvc) Fehler: %d", ret);
				break;
			}
			frame_count++;
			if (frame_count <= 5U || frame_count % 30U == 0U) {
				LOG_INF("SW-Gen→UVC frame %u buf=%p",
					frame_count, (void *)vbuf->buffer);
			}

			/* 4. Fertig-Buffer von UVC zurückfordern */
			LOG_DBG("SW-Gen: warte auf fertig-Buffer von uvc_dev...");
			ret = video_dequeue(uvc_dev, &done_buf, K_MSEC(500));
			if (ret != 0) {
				LOG_WRN("UVC dequeue timeout (frame %u) ret=%d",
					frame_count, ret);
				continue;
			}

			/* 5. Buffer an sw-generator zurückgeben */
			done_buf->type = VIDEO_BUF_TYPE_OUTPUT;
			LOG_DBG("SW-Gen: gebe Buffer zurueck an video_dev...");
			video_enqueue(video_dev, done_buf);

			bench_update(fmt.size);
		}
	}

#endif /* CONFIG_XI640_UVC_SOURCE_DCMIPP */

	return 0;
}
```

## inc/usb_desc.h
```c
/**
 ******************************************************************************
 * @file    usb_desc.h
 * @author  AIS Application Team
 ******************************************************************************
 * @attention
 *
 * Copyright (c) 2025 STMicroelectronics.
 * All rights reserved.
 *
 * This software is licensed under terms that can be found in the LICENSE file
 * in the root directory of this software component.
 * If no LICENSE file comes with this software, it is provided AS-IS.
 *
 ******************************************************************************
 */

#ifndef _USB_DESC_H_
#define _USB_DESC_H_

#include <stdint.h>

typedef struct {
  int is_hs;
  int width;
  int height;
  int fps;
  int payload_type;
  uint32_t dwMaxVideoFrameSize;
} uvc_desc_conf;

typedef struct {
  int is_hs;
} usb_desc_conf;

int usb_get_device_desc(void *p_dst, int dst_len, int idx_manufacturer, int idx_product, int idx_serial);
int usb_get_device_qualifier_desc(void *p_dst, int dst_len);
int usb_get_lang_string_desc(void *p_dst, int dst_len);
int usb_get_manufacturer_string_desc(void *p_dst, int dst_len);
int usb_get_product_string_desc(void *p_dst, int dst_len);
int usb_get_serial_string_desc(void *p_dst, int dst_len);
int usb_get_configuration_desc(void *p_dst, int dst_len, usb_desc_conf *p_conf);
int uvc_get_configuration_desc(void *p_dst, int dst_len, uvc_desc_conf *p_conf);
int uvc_get_device_desc(void *p_dst, int dst_len, int idx_manufacturer, int idx_product, int idx_serial);

#endif
```

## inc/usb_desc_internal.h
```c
 /**
 ******************************************************************************
 * @file    usb_desc_internal.h
 * @author  AIS Application Team
 *
 ******************************************************************************
 * @attention
 *
 * Copyright (c) 2025 STMicroelectronics.
 * All rights reserved.
 *
 * This software is licensed under terms that can be found in the LICENSE file
 * in the root directory of this software component.
 * If no LICENSE file comes with this software, it is provided AS-IS.
 *
 ******************************************************************************
 */

#ifndef _USB_DESC_INTERNAL_H_
#define _USB_DESC_INTERNAL_H_

#include <stdint.h>
#include "cmsis_compiler.h"

struct usb_desc_head {
  uint8_t bLength;
  uint8_t *raw;
  struct usb_desc_head *next;
  struct usb_desc_head *next_child;
  struct usb_desc_head *children;
  int (*gen)(struct usb_desc_head *head, uint8_t *p_dst, int dst_len);
  void (*update)(struct usb_desc_head *head);
};

struct usb_dev_desc_raw {
  uint8_t bLength;
  uint8_t bDescriptorType;
  uint16_t bcdUSB;
  uint8_t bDeviceClass;
  uint8_t bDeviceSubClass;
  uint8_t bDeviceProtocol;
  uint8_t bMaxPacketSize;
  uint16_t idVendor;
  uint16_t idProduct;
  uint16_t bcdDevice;
  uint8_t iManufacturer;
  uint8_t iProduct;
  uint8_t iSerialNumber;
  uint8_t bNumConfigurations;
} __PACKED;

struct usb_dev_desc {
  struct usb_desc_head head;
  struct usb_dev_desc_raw raw;
};

struct usb_conf_desc_raw {
  uint8_t bLength;
  uint8_t bDescriptorType;
  uint16_t wTotalLength;
  uint8_t bNumInterfaces;
  uint8_t bConfigurationValue;
  uint8_t iConfiguration;
  uint8_t bmAttributes;
  uint8_t bMaxPower;
} __PACKED;

struct usb_conf_desc {
  struct usb_desc_head head;
  struct usb_conf_desc_raw raw;
};

struct std_itf_desc_raw {
  uint8_t bLength;
  uint8_t bDescriptorType;
  uint8_t bInterfaceNumber;
  uint8_t bAlternateSetting;
  uint8_t bNumEndpoints;
  uint8_t bInterfaceClass;
  uint8_t bInterfaceSubClass;
  uint8_t bInterfaceProtocol;
  uint8_t iInterface;
} __PACKED;

struct std_itf_desc {
  struct usb_desc_head head;
  struct std_itf_desc_raw raw;
};

struct cdc_hdr_func_desc_raw {
  uint8_t bLength;
  uint8_t bDescriptorType;
  uint8_t bDescriptorSubType;
  uint16_t bcdCDC;
} __PACKED;

struct cdc_hdr_func_desc {
  struct usb_desc_head head;
  struct cdc_hdr_func_desc_raw raw;
};

struct cdc_acm_func_desc_raw {
  uint8_t bLength;
  uint8_t bDescriptorType;
  uint8_t bDescriptorSubType;
  uint8_t bmCapabilities;
} __PACKED;

struct cdc_acm_func_desc {
  struct usb_desc_head head;
  struct cdc_acm_func_desc_raw raw;
};

struct cdc_union_func_desc_raw {
  uint8_t bLength;
  uint8_t bDescriptorType;
  uint8_t bDescriptorSubType;
  uint8_t bControlInterface;
  uint8_t bSubordinateInterface0;
} __PACKED;

struct cdc_union_func_desc {
  struct usb_desc_head head;
  struct cdc_union_func_desc_raw raw;
};

struct cdc_call_mgt_func_desc_raw {
  uint8_t bLength;
  uint8_t bDescriptorType;
  uint8_t bDescriptorSubType;
  uint8_t bmCapabilities;
  uint8_t bDataInterface;
} __PACKED;

struct cdc_call_mgt_func_desc {
  struct usb_desc_head head;
  struct cdc_call_mgt_func_desc_raw raw;
};

struct std_ep_desc_raw {
  uint8_t bLength;
  uint8_t bDescriptorType;
  uint8_t bEndpointAddress;
  uint8_t bmAttributes;
  uint16_t wMaxPacketSize;
  uint8_t bInterval;
} __PACKED;

struct std_ep_desc {
  struct usb_desc_head head;
  struct std_ep_desc_raw raw;
};

struct std_iad_desc_raw {
  uint8_t bLength;
  uint8_t bDescriptorType;
  uint8_t bFirstInterface;
  uint8_t bInterfaceCount;
  uint8_t bFunctionClass;
  uint8_t bFunctionSubClass;
  uint8_t bFunctionProtocol;
  uint8_t iFunction;
} __PACKED;

struct std_iad_desc {
  struct usb_desc_head head;
  struct std_iad_desc_raw raw;
};

struct usb_cdc_conf_desc {
  struct usb_conf_desc conf_desc;
  struct std_iad_desc cdc_iad_desc;
  struct std_itf_desc cdc_ctrl_itf;
  struct cdc_hdr_func_desc hdr_func_desc;
  struct cdc_acm_func_desc acm_func_desc;
  struct cdc_union_func_desc union_func_desc;
  struct cdc_call_mgt_func_desc call_mgt_func_desc;
  struct std_ep_desc cdc_acm_ctrl_ep_desc;
  struct std_itf_desc cdc_data_itf;
  struct std_ep_desc cdc_acm_data_in_ep_desc;
  struct std_ep_desc cdc_acm_data_out_ep_desc;
};

struct uvc_iad_desc_raw {
  uint8_t bLength;
  uint8_t bDescriptorType;
  uint8_t bFirstInterface;
  uint8_t bInterfaceCount;
  uint8_t bFunctionClass;
  uint8_t bFunctionSubClass;
  uint8_t bFunctionProtocol;
  uint8_t iFunction;
} __PACKED;

struct uvc_iad_desc {
  struct usb_desc_head head;
  struct uvc_iad_desc_raw raw;
};

struct uvc_std_vc_desc_raw {
  uint8_t bLength;
  uint8_t bDescriptorType;
  uint8_t bInterfaceNumber;
  uint8_t bAlternateSetting;
  uint8_t bNumEndpoints;
  uint8_t bInterfaceClass;
  uint8_t bInterfaceSubClass;
  uint8_t bInterfaceProtocol;
  uint8_t iInterface;
} __PACKED;

struct uvc_std_vc_desc {
  struct usb_desc_head head;
  struct uvc_std_vc_desc_raw raw;
};

struct uvc_class_vc_desc_raw {
  uint8_t bLength;
  uint8_t bDescriptorType;
  uint8_t bDescriptorSubType;
  uint16_t bcdUVC;
  uint16_t wTotalLength;
  uint32_t dwClockFrequency;
  uint8_t bInCollection;
  uint8_t baInterfaceNr[1];
} __PACKED;

struct uvc_class_vc_desc {
  struct usb_desc_head head;
  struct uvc_class_vc_desc_raw raw;
};

struct uvc_camera_terminal_desc_raw {
  uint8_t bLength;
  uint8_t bDescriptorType;
  uint8_t bDescriptorSubType;
  uint8_t bTerminalID;
  uint16_t wTerminalType;
  uint8_t bAssocTerminal;
  uint8_t iTerminal;
  uint16_t wObjectiveFocalLengthMin;
  uint16_t wObjectiveFocalLengthMax;
  uint16_t wOcularFocalLength;
  uint8_t bControlSize;
  uint8_t bmControls[3];
} __PACKED;

struct uvc_camera_terminal_desc {
  struct usb_desc_head head;
  struct uvc_camera_terminal_desc_raw raw;
};

struct uvc_output_term_desc_raw {
  uint8_t bLength;
  uint8_t bDescriptorType;
  uint8_t bDescriptorSubType;
  uint8_t bTerminalID;
  uint16_t wTerminalType;
  uint8_t bAssocTerminal;
  uint8_t bSourceID;
  uint8_t iTerminal;
} __PACKED;

struct uvc_output_term_desc {
  struct usb_desc_head head;
  struct uvc_output_term_desc_raw raw;
};

struct uvc_std_vs_desc_raw {
  uint8_t bLength;
  uint8_t bDescriptorType;
  uint8_t bInterfaceNumber;
  uint8_t bAlternateSetting;
  uint8_t bNumEndpoints;
  uint8_t bInterfaceClass;
  uint8_t bInterfaceSubClass;
  uint8_t bInterfaceProtocol;
  uint8_t iInterface;
} __PACKED;

struct uvc_std_vs_desc {
  struct usb_desc_head head;
  struct uvc_std_vs_desc_raw raw;
};

struct uvc_vs_input_desc_raw {
  uint8_t bLength;
  uint8_t bDescriptorType;
  uint8_t bDescriptorSubType;
  uint8_t bNumFormats;
  uint16_t wTotalLength;
  uint8_t bEndpointAddress;
  uint8_t bmInfo;
  uint8_t bTerminalLink;
  uint8_t bStillCaptureMethod;
  uint8_t bTriggerSupport;
  uint8_t bTriggerUsage;
  uint8_t bControlSize;
  uint8_t bmaControls[1];
} __PACKED;

struct uvc_vs_input_desc {
  struct usb_desc_head head;
  struct uvc_vs_input_desc_raw raw;
};

struct uvc_yuv422_fmt_desc_raw {
  uint8_t bLength;
  uint8_t bDescriptorType;
  uint8_t bDescriptorSubType;
  uint8_t bFormatIndex;
  uint8_t bNumFrameDescriptors;
  uint8_t guidFormat[16];
  uint8_t bBitsPerPixel;
  uint8_t bDefaultFrameIndex;
  uint8_t bAspectRatioX;
  uint8_t bAspectRatioY;
  uint8_t bmInterlaceFlags;
  uint8_t bCopyProtect;
} __PACKED;

struct uvc_yuv422_fmt_desc {
  struct usb_desc_head head;
  struct uvc_yuv422_fmt_desc_raw raw;
};

struct uvc_yuv422_frame_desc_raw {
  uint8_t bLength;
  uint8_t bDescriptorType;
  uint8_t bDescriptorSubType;
  uint8_t bFrameIndex;
  uint8_t bmCapabilities;
  uint16_t wWidth;
  uint16_t wHeight;
  uint32_t dwMinBitRate;
  uint32_t dwMaxBitRate;
  uint32_t dwMaxVideoFrameBufferSize;
  uint32_t dwDefaultFrameInterval;
  uint8_t bFrameIntervalType;
  uint32_t dwFrameInterval[1];
} __PACKED;

struct uvc_yuv422_frame_desc {
  struct usb_desc_head head;
  struct uvc_yuv422_frame_desc_raw raw;
};

struct uvc_color_desc_raw {
  uint8_t bLength;
  uint8_t bDescriptorType;
  uint8_t bDescriptorSubType;
  uint8_t bColorPrimaries;
  uint8_t bTransferCharacteristics;
  uint8_t bMatrixCoefficients;
} __PACKED;

struct uvc_color_desc {
  struct usb_desc_head head;
  struct uvc_color_desc_raw raw;
};

struct uvc_vs_ep_desc_raw {
  uint8_t bLength;
  uint8_t bDescriptorType;
  uint8_t bEndpointAddress;
  uint8_t bmAttributes;
  uint16_t wMaxPacketSize;
  uint8_t bInterval;
} __PACKED;

struct uvc_vs_ep_desc {
  struct usb_desc_head head;
  struct uvc_vs_ep_desc_raw raw;
};

struct uvc_yuv422_conf_desc {
  struct usb_conf_desc conf_desc;
  struct uvc_iad_desc iad_desc;
  struct uvc_std_vc_desc std_vc_desc;
  struct uvc_class_vc_desc class_vc_desc;
  struct uvc_camera_terminal_desc cam_desc;
  struct uvc_output_term_desc tt_desc;
  struct uvc_std_vs_desc std_vs_alt0_desc;
  struct uvc_vs_input_desc vs_input_desc;
  struct uvc_yuv422_fmt_desc fb_fmt_desc;
  struct uvc_yuv422_frame_desc fb_frame_desc;
  struct uvc_color_desc color_desc;
  struct uvc_std_vs_desc std_vs_alt1_desc;
  struct uvc_vs_ep_desc ep_desc;
  struct std_iad_desc cdc_iad_desc;
  struct std_itf_desc cdc_ctrl_itf;
  struct cdc_hdr_func_desc hdr_func_desc;
  struct cdc_acm_func_desc acm_func_desc;
  struct cdc_union_func_desc union_func_desc;
  struct cdc_call_mgt_func_desc call_mgt_func_desc;
  struct std_ep_desc cdc_acm_ctrl_ep_desc;
  struct std_itf_desc cdc_data_itf;
  struct std_ep_desc cdc_acm_data_in_ep_desc;
  struct std_ep_desc cdc_acm_data_out_ep_desc;
};

#endif /* _USB_DESC_INTERNAL_H_ */
```

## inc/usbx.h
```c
/**
 * @file    usbx.h
 * @brief   USBX Init-API fuer Xi640 — basiert auf ST-Referenz usbx.h
 *
 * Angepasste Signatur: PCD-Handle wird intern ueber xi640_dcd_get_pcd_handle()
 * geholt — main.c benoetigt keinen direkten HAL-Typ.
 *
 * Copyright (c) 2025 STMicroelectronics / 2026 Optris GmbH.
 */

#ifndef _USBX_H_
#define _USBX_H_

#include "usbx_conf.h"

/**
 * @brief  USBX System + Device Stack + UVC/CDC Class initialisieren.
 *
 * Entspricht ST usbx_init() aber ohne externen PCD-Handle-Parameter.
 * Baut Deskriptoren (usb_desc.c), ruft ux_system_initialize(),
 * ux_device_stack_initialize(), registriert UVC + CDC, ruft
 * xi640_dcd_register_usbx() (= ux_dcd_stm32_initialize).
 *
 * @param  p_ctx  Zeiger auf befuellten uvc_ctx_t (conf.width/height/fps)
 * @return 0 bei Erfolg, negativer Fehlercode sonst
 */
int usbx_init(uvc_ctx_t *p_ctx);

#endif /* _USBX_H_ */
```

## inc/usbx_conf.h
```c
/**
 * @file    usbx_conf.h
 * @brief   USBX Konfiguration fuer Xi640 — ST-Referenz nachempfunden
 *
 * Stellt alle Defines bereit die usb_desc.c und usbx_zephyr.c benoetigen.
 */

#ifndef USBX_CONF_H
#define USBX_CONF_H

#include <stdint.h>

/* ── Speicherpool ──────────────────────────────────────────────────────── */
#define USBX_MEM_SIZE         (32U * 1024U)   /* 32 KB (ST-Referenzwert) */
#define USBX_BUFFER_NB        4U               /* Payload-Buffer-Slots */

/* ── Deskriptor-Puffer ─────────────────────────────────────────────────── */
#define USBX_MAX_CONF_LEN     512U
#define USBX_MAX_STRING_LEN   512U
#define USBX_MAX_LANGID_LEN   2U

/* ── Alignment / Attribute ─────────────────────────────────────────────── */
#define USBX_ALIGN_32         __attribute__((aligned(32)))
#define USBX_UNCACHED         /* leer — DCache ist global deaktiviert */

/* ── ISO High-Bandwidth: 3 Transactions x 1024 = 3072 B/Microframe ─────── */
#ifndef USBL_PACKET_PER_MICRO_FRAME
#define USBL_PACKET_PER_MICRO_FRAME   3U
#endif

#define UVC_ISO_HS_MPS  (USBL_PACKET_PER_MICRO_FRAME * 1024U)
#define UVC_ISO_FS_MPS  1023U

/* ── UVC aktivieren ────────────────────────────────────────────────────── */
#define ISP_ENABLE_UVC

/* ── UVC Typen und Prototypen (aus ST usb_uvc.h) ──────────────────────── */
#include "usb_uvc.h"

/* Prototypen fuer UVCL-kompatible Funktionen (in usbx_zephyr.c) */
uvc_on_fly_ctx *UVC_StartNewFrameTransmission(uvc_ctx_t *p_ctx, int packet_size);
void            UVC_UpdateOnFlyCtx(uvc_ctx_t *p_ctx, int len);
void            UVC_AbortOnFlyCtx(uvc_ctx_t *p_ctx);
int             UVC_handle_setup_request(uvc_ctx_t *p_ctx, uvc_setup_req_t *req);

#endif /* USBX_CONF_H */
```

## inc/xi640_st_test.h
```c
/**
 * @file    xi640_st_test.h
 * @brief   ST-Referenzpfad Klon — Interface
 *
 * Minimales Testprogramm das EXAKT den ST-Initialisierungspfad aus
 * x-cube-n6-camera-capture nachbaut, in unserem Zephyr-Projekt.
 *
 * Ziel: Wenn dieses File enumeriert (STP>0, Windows zeigt UVC-Geraet),
 *       ist unser Glue-Code/Deskriptoren das Problem — wir arbeiten uns
 *       dann rueckwaerts zu unserem eigenen Code vor.
 *
 * Kritischer Unterschied zu unserem Code:
 *   ST: ux_system_tasks_run() ZWEIMAL direkt aus ISR (UVCL_stm32_usbx_IRQHandler)
 *   Wir: ux_system_tasks_run() aus dedizierten Thread mit k_sleep(1ms)
 *
 * Aktivierung: XI640_ST_ISR_MODE=1 in CMakeLists.txt
 *
 * Copyright (c) 2026 Optris GmbH. Alle Rechte vorbehalten.
 */

#ifndef XI640_ST_TEST_H
#define XI640_ST_TEST_H

#ifdef __cplusplus
extern "C" {
#endif

/**
 * @brief   ST-Klon Initialisierung — ersetzt die 5-Schritt-Sequenz in main.c.
 *
 * Entspricht dem ST-Referenzpfad:
 *   1. UVCL_usb_init()  → xi640_dcd_init()  (HAL PCD + FIFO, identisch)
 *   2. usbx_init()      → xi640_uvc_init()  (USBX System + Stack + Video)
 *   3. ux_dcd_stm32_initialize() → xi640_dcd_register_usbx()
 *   4. (KEIN tasks-Thread — tasks_run() laeuft aus ISR via XI640_ST_ISR_MODE)
 *   5. HAL_PCD_Start()  → xi640_dcd_start() (IRQ enable + Enumeration)
 *
 * @return  0 bei Erfolg, negativer Fehlercode sonst
 */
int xi640_st_init(void);

#ifdef __cplusplus
}
#endif

#endif /* XI640_ST_TEST_H */
```
